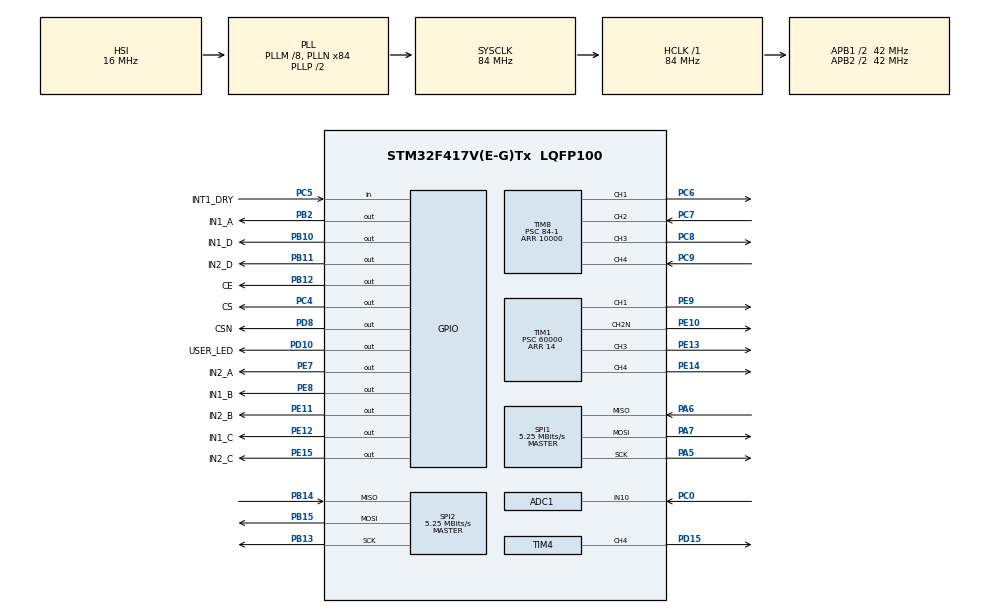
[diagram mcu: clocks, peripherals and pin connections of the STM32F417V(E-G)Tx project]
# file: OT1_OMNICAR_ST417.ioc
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ADC1.Channel-0\#ChannelRegularConversion=ADC_CHANNEL_10
ADC1.ContinuousConvMode=ENABLE
ADC1.NbrOfConversionFlag=1
ADC1.Rank-0\#ChannelRegularConversion=1
ADC1.Resolution=ADC_RESOLUTION_10B
ADC1.SamplingTime-0\#ChannelRegularConversion=ADC_SAMPLETIME_3CYCLES
ADC1.master=1
Mcu.Family=STM32F4
Mcu.Name=STM32F417V(E-G)Tx
Mcu.Package=LQFP100
NVIC.PriorityGroup=NVIC_PRIORITYGROUP_4
NVIC.TIM8_BRK_TIM12_IRQn=true\:0\:0\:false\:false\:true\:true\:true
NVIC.TIM8_CC_IRQn=true\:0\:0\:false\:false\:true\:true\:true
PA13.Mode=Serial_Wire
PA13.Signal=SYS_JTMS-SWDIO
PA14.Mode=Serial_Wire
PA14.Signal=SYS_JTCK-SWCLK
PA5.Mode=Full_Duplex_Master
PA5.Signal=SPI1_SCK
PA6.Mode=Full_Duplex_Master
PA6.Signal=SPI1_MISO
PA7.Mode=Full_Duplex_Master
PA7.Signal=SPI1_MOSI
PB10.GPIO_Label=IN1_D
PB10.Signal=GPIO_Output
PB11.GPIO_Label=IN2_D
PB11.Signal=GPIO_Output
PB12.GPIO_Label=CE
PB12.Signal=GPIO_Output
PB13.Mode=Full_Duplex_Master
PB13.Signal=SPI2_SCK
PB14.Mode=Full_Duplex_Master
PB14.Signal=SPI2_MISO
PB15.Mode=Full_Duplex_Master
PB15.Signal=SPI2_MOSI
PB2.GPIO_Label=IN1_A
PB2.Signal=GPIO_Output
PC0.Signal=ADCx_IN10
PC14-OSC32_IN.Mode=LSE-External-Oscillator
PC14-OSC32_IN.Signal=RCC_OSC32_IN
PC15-OSC32_OUT.Mode=LSE-External-Oscillator
PC15-OSC32_OUT.Signal=RCC_OSC32_OUT
PC4.GPIO_Label=CS
PC4.Signal=GPIO_Output
PC5.GPIO_Label=INT1_DRY
PC5.Signal=GPIO_Input
PC6.Signal=S_TIM8_CH1
PC7.Signal=S_TIM8_CH2
PC8.Signal=S_TIM8_CH3
PC9.Signal=S_TIM8_CH4
PD10.GPIO_Label=USER_LED
PD10.Signal=GPIO_Output
PD15.Signal=S_TIM4_CH4
PD8.GPIO_Label=CSN
PD8.Signal=GPIO_Output
PE10.Mode=PWM Generation2 CH2N
PE10.Signal=TIM1_CH2N
PE11.GPIO_Label=IN2_B
PE11.Signal=GPIO_Output
PE12.GPIO_Label=IN1_C
PE12.Signal=GPIO_Output
PE13.Signal=S_TIM1_CH3
PE14.Signal=S_TIM1_CH4
PE15.GPIO_Label=IN2_C
PE15.Signal=GPIO_Output
PE7.GPIO_Label=IN2_A
PE7.Signal=GPIO_Output
PE8.GPIO_Label=IN1_B
PE8.Signal=GPIO_Output
PE9.Signal=S_TIM1_CH1
ProjectManager.HeapSize=0x200
ProjectManager.StackSize=0x400
ProjectManager.TargetToolchain=STM32CubeIDE
RCC.48MHZClocksFreq_Value=42000000
RCC.AHBFreq_Value=84000000
RCC.APB1CLKDivider=RCC_HCLK_DIV2
RCC.APB1Freq_Value=42000000
RCC.APB1TimFreq_Value=84000000
RCC.APB2CLKDivider=RCC_HCLK_DIV2
RCC.APB2Freq_Value=42000000
RCC.APB2TimFreq_Value=84000000
RCC.CortexFreq_Value=84000000
RCC.HCLKFreq_Value=84000000
RCC.HSE_VALUE=25000000
RCC.HSI_VALUE=16000000
RCC.PLLM=8
RCC.PLLN=84
RCC.SYSCLKFreq_VALUE=84000000
RCC.SYSCLKSource=RCC_SYSCLKSOURCE_PLLCLK
RCC.VCOOutputFreq_Value=168000000
SH.ADCx_IN10.0=ADC1_IN10,IN10
SH.S_TIM1_CH1.0=TIM1_CH1,PWM Generation1 CH1
SH.S_TIM1_CH3.0=TIM1_CH3,PWM Generation3 CH3
SH.S_TIM1_CH4.0=TIM1_CH4,PWM Generation4 CH4
SH.S_TIM4_CH4.0=TIM4_CH4,PWM Generation4 CH4
SH.S_TIM8_CH1.0=TIM8_CH1,PWM Generation1 CH1
SH.S_TIM8_CH2.0=TIM8_CH2,Input_Capture2_from_TI2
SH.S_TIM8_CH3.0=TIM8_CH3,PWM Generation3 CH3
SH.S_TIM8_CH4.0=TIM8_CH4,Input_Capture4_from_TI4
SPI1.BaudRatePrescaler=SPI_BAUDRATEPRESCALER_8
SPI1.CalculateBaudRate=5.25 MBits/s
SPI1.Direction=SPI_DIRECTION_2LINES
SPI1.Mode=SPI_MODE_MASTER
SPI1.VirtualType=VM_MASTER
SPI2.BaudRatePrescaler=SPI_BAUDRATEPRESCALER_8
SPI2.CalculateBaudRate=5.25 MBits/s
SPI2.Direction=SPI_DIRECTION_2LINES
SPI2.Mode=SPI_MODE_MASTER
SPI2.VirtualType=VM_MASTER
TIM1.Channel-PWM\ Generation1\ CH1=TIM_CHANNEL_1
TIM1.Channel-PWM\ Generation2\ CH2N=TIM_CHANNEL_2
TIM1.Channel-PWM\ Generation3\ CH3=TIM_CHANNEL_3
TIM1.Channel-PWM\ Generation4\ CH4=TIM_CHANNEL_4
TIM1.OCNPolarity_2=TIM_OCNPOLARITY_LOW
TIM1.Period=14
TIM1.Prescaler=60000
TIM4.Channel-PWM\ Generation4\ CH4=TIM_CHANNEL_4
TIM4.Period=1000
TIM4.Prescaler=1680
TIM8.Channel-Input_Capture2_from_TI2=TIM_CHANNEL_2
TIM8.Channel-Input_Capture4_from_TI4=TIM_CHANNEL_4
TIM8.Channel-PWM\ Generation1\ CH1=TIM_CHANNEL_1
TIM8.Channel-PWM\ Generation3\ CH3=TIM_CHANNEL_3
TIM8.Period=10000
TIM8.Prescaler=84-1
TIM8.Pulse-PWM\ Generation1\ CH1=10
TIM8.Pulse-PWM\ Generation3\ CH3=10
VP_TIM1_VS_ClockSourceINT.Mode=Internal
VP_TIM4_VS_ClockSourceINT.Mode=Internal
VP_TIM8_VS_ClockSourceINT.Mode=Internal
board=custom

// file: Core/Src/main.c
/* USER CODE BEGIN Header */
/**
  ******************************************************************************
  * @file           : main.c
  * @brief          : Main program body
  ******************************************************************************
  * @attention
  *
  * <h2><center>&copy; Copyright (c) 2021 STMicroelectronics.
  * All rights reserved.</center></h2>
  *
  * This software component is licensed by ST under BSD 3-Clause license,
  * the "License"; You may not use this file except in compliance with the
  * License. You may obtain a copy of the License at:
  *                        opensource.org/licenses/BSD-3-Clause
  *
  ******************************************************************************
  */
/* USER CODE END Header */
#include "main.h"

/* USER CODE BEGIN Includes */
#include "omnicar_inc/motors.h"						// include header file for motors driver
#include "omnicar_inc/MY_NRF24.h"					// include header file for wireless communication driver
#include "omnicar_inc/battery.h"					// include header file for battery (ADC) driver
#include "omnicar_inc/sensors.h"					// include header file for sensors driver

#include <stdbool.h>								// include header file for standard boolean library
#include <stdio.h>									// include header file for standard Input Output library
/* USER CODE END Includes */

ADC_HandleTypeDef hadc1;

SPI_HandleTypeDef hspi1;
SPI_HandleTypeDef hspi2;

TIM_HandleTypeDef htim1;
TIM_HandleTypeDef htim4;
TIM_HandleTypeDef htim8;

/* USER CODE BEGIN PV */

//PRIVATE VARIABLES NRF24
uint64_t RxpipeAddrs = 0x11223344AA;            				// UHF module address (nRF24L01+)
uint8_t channel      = 52;                           			// data for initialize the channel number
uint8_t payload_size = 32;                      				// data for initialize the payload size
uint8_t myRxData[3];                            				// data array from radiocommand
uint8_t myAckPayload[3];                        				// send ACK with playload (battery level and speed car)

//PRIVATE VARIABLES MOTORS
uint32_t channel_array[4]  = {TIM_CHANNEL_1, TIM_CHANNEL_2, TIM_CHANNEL_3, TIM_CHANNEL_4};										// channel array
uint16_t gpio_pin_array[8] = {IN1_A_Pin, IN2_A_Pin, IN1_B_Pin, IN2_B_Pin, IN1_C_Pin, IN2_C_Pin, IN1_D_Pin, IN2_D_Pin};			// GPIO pin array for motors direction

//PRIVATE VARIABLES SENSORS
bool dst = false;												// declaration of a boolean data for US1
bool dst_2 = false;												// declaration of a boolean data for US2

uint8_t batt = 0;
/* USER CODE END PV */

void SystemClock_Config(void);
static void MX_GPIO_Init(void);
static void MX_SPI2_Init(void);
static void MX_TIM1_Init(void);
static void MX_ADC1_Init(void);
static void MX_TIM4_Init(void);
static void MX_TIM8_Init(void);
static void MX_SPI1_Init(void);

int main(void)
{

  /* MCU Configuration--------------------------------------------------------*/

  /* Reset of all peripherals, Initializes the Flash interface and the Systick. */
  HAL_Init();

  /* Configure the system clock */
  SystemClock_Config();

  /* Initialize all configured peripherals */
  MX_GPIO_Init();
  MX_SPI2_Init();
  MX_TIM1_Init();
  MX_ADC1_Init();
  MX_TIM4_Init();
  MX_TIM8_Init();
  MX_SPI1_Init();
  /* USER CODE BEGIN 2 */

  /* NRF - INIT*/
  NRF24_begin(GPIOD, CSN_Pin, GPIOB, CE_Pin, hspi2);              						// initialization of all register into there reset value
  NRF24_receptionInit(RxpipeAddrs, channel, payload_size);        						// function call for initialization of reception

  /* MOTORS - INIT */
  init_pwm_motors(&htim1, channel_array);												// function call for initialization of motors PWM

  /* SERVO */
  HAL_TIM_PWM_Start(&htim4, TIM_CHANNEL_4);												// start PWM at TIM4 - CHANNEL4 for servo motor
  /* ULTRA SON */
  //sensors_init_pwm(&htim8, channel_array);												// function call for initialization of PWM sensor

  HAL_TIM_PWM_Start(&htim8, TIM_CHANNEL_1);									// DELETE ?
  HAL_TIM_IC_Start_IT(&htim8, TIM_CHANNEL_2);
  HAL_TIM_PWM_Start(&htim8, TIM_CHANNEL_3);
  HAL_TIM_IC_Start_IT(&htim8, TIM_CHANNEL_4);

  /* USER CODE END 2 */

  /* Infinite loop */
  /* USER CODE BEGIN WHILE */
  while (1)
  {
	/* DATA RECEIVE */
	NRF24_dataReception(myRxData, 3, myAckPayload, 3);									// function call for data reception

	/* ACTIVATE SENSORS */
	if(myRxData[2] == 1)																// check into the third case of myRxData
	{
		HAL_GPIO_WritePin(USER_LED_GPIO_Port, USER_LED_Pin, GPIO_PIN_SET);
		sensors_start_servo(&htim4, TIM_CHANNEL_4);										// function call for start the servomotor

		//calculated_distance();
		//calculated_distance_2();

		dst = sensors_calculated_distance();								 //ERROR	// function call to calculate distance with ultra-sonic sensor 1 and store the return data into dst
		dst_2 = sensors_calculated_distance_2();										// function call to calculate distance with ultre-sonic sensor 2 and store the return data into dst_2

		if(dst_2 || dst)																		// check if dst_2 is true
		{
			myAckPayload[2] = 1;														// store 1 into the third case of "myAckPayload" array
		}
		else
		{
			myAckPayload[2] = 0;														// store 0 into the third case of "myAckPayload" array
		}
	}
	else
	{
		HAL_GPIO_WritePin(USER_LED_GPIO_Port, USER_LED_Pin, GPIO_PIN_RESET);
	}

	HAL_Delay(5);																		// to have the same time for ack

	motors_management(&htim1, channel_array, myRxData);									// function call to set the PWM for the engine management
	motors_direction(GPIOB, GPIOE, gpio_pin_array, myRxData);							// function call to start the motor direction

	myAckPayload[0] = battery_getBatteryLevel(&hadc1);									// store the percentage of battery into the first case of the ack array
    /* USER CODE END WHILE */

  }
}

void SystemClock_Config(void)
{
  RCC_OscInitTypeDef RCC_OscInitStruct = {0};
  RCC_ClkInitTypeDef RCC_ClkInitStruct = {0};

  /** Configure the main internal regulator output voltage
  */
  __HAL_RCC_PWR_CLK_ENABLE();
  __HAL_PWR_VOLTAGESCALING_CONFIG(PWR_REGULATOR_VOLTAGE_SCALE1);
  /** Initializes the RCC Oscillators according to the specified parameters
  * in the RCC_OscInitTypeDef structure.
  */
  RCC_OscInitStruct.OscillatorType = RCC_OSCILLATORTYPE_HSI;
  RCC_OscInitStruct.HSIState = RCC_HSI_ON;
  RCC_OscInitStruct.HSICalibrationValue = RCC_HSICALIBRATION_DEFAULT;
  RCC_OscInitStruct.PLL.PLLState = RCC_PLL_ON;
  RCC_OscInitStruct.PLL.PLLSource = RCC_PLLSOURCE_HSI;
  RCC_OscInitStruct.PLL.PLLM = 8;
  RCC_OscInitStruct.PLL.PLLN = 84;
  RCC_OscInitStruct.PLL.PLLP = RCC_PLLP_DIV2;
  RCC_OscInitStruct.PLL.PLLQ = 4;
  if (HAL_RCC_OscConfig(&RCC_OscInitStruct) != HAL_OK)
  {
    Error_Handler();
  }
  /** Initializes the CPU, AHB and APB buses clocks
  */
  RCC_ClkInitStruct.ClockType = RCC_CLOCKTYPE_HCLK|RCC_CLOCKTYPE_SYSCLK
                              |RCC_CLOCKTYPE_PCLK1|RCC_CLOCKTYPE_PCLK2;
  RCC_ClkInitStruct.SYSCLKSource = RCC_SYSCLKSOURCE_PLLCLK;
  RCC_ClkInitStruct.AHBCLKDivider = RCC_SYSCLK_DIV1;
  RCC_ClkInitStruct.APB1CLKDivider = RCC_HCLK_DIV2;
  RCC_ClkInitStruct.APB2CLKDivider = RCC_HCLK_DIV2;

  if (HAL_RCC_ClockConfig(&RCC_ClkInitStruct, FLASH_LATENCY_2) != HAL_OK)
  {
    Error_Handler();
  }
}

static void MX_ADC1_Init(void)
{

  ADC_ChannelConfTypeDef sConfig = {0};

  /** Configure the global features of the ADC (Clock, Resolution, Data Alignment and number of conversion)
  */
  hadc1.Instance = ADC1;
  hadc1.Init.ClockPrescaler = ADC_CLOCK_SYNC_PCLK_DIV2;
  hadc1.Init.Resolution = ADC_RESOLUTION_10B;
  hadc1.Init.ScanConvMode = DISABLE;
  hadc1.Init.ContinuousConvMode = ENABLE;
  hadc1.Init.DiscontinuousConvMode = DISABLE;
  hadc1.Init.ExternalTrigConvEdge = ADC_EXTERNALTRIGCONVEDGE_NONE;
  hadc1.Init.ExternalTrigConv = ADC_SOFTWARE_START;
  hadc1.Init.DataAlign = ADC_DATAALIGN_RIGHT;
  hadc1.Init.NbrOfConversion = 1;
  hadc1.Init.DMAContinuousRequests = DISABLE;
  hadc1.Init.EOCSelection = ADC_EOC_SINGLE_CONV;
  if (HAL_ADC_Init(&hadc1) != HAL_OK)
  {
    Error_Handler();
  }
  /** Configure for the selected ADC regular channel its corresponding rank in the sequencer and its sample time.
  */
  sConfig.Channel = ADC_CHANNEL_10;
  sConfig.Rank = 1;
  sConfig.SamplingTime = ADC_SAMPLETIME_3CYCLES;
  if (HAL_ADC_ConfigChannel(&hadc1, &sConfig) != HAL_OK)
  {
    Error_Handler();
  }

}

static void MX_SPI1_Init(void)
{

  /* SPI1 parameter configuration*/
  hspi1.Instance = SPI1;
  hspi1.Init.Mode = SPI_MODE_MASTER;
  hspi1.Init.Direction = SPI_DIRECTION_2LINES;
  hspi1.Init.DataSize = SPI_DATASIZE_8BIT;
  hspi1.Init.CLKPolarity = SPI_POLARITY_LOW;
  hspi1.Init.CLKPhase = SPI_PHASE_1EDGE;
  hspi1.Init.NSS = SPI_NSS_SOFT;
  hspi1.Init.BaudRatePrescaler = SPI_BAUDRATEPRESCALER_8;
  hspi1.Init.FirstBit = SPI_FIRSTBIT_MSB;
  hspi1.Init.TIMode = SPI_TIMODE_DISABLE;
  hspi1.Init.CRCCalculation = SPI_CRCCALCULATION_DISABLE;
  hspi1.Init.CRCPolynomial = 10;
  if (HAL_SPI_Init(&hspi1) != HAL_OK)
  {
    Error_Handler();
  }

}

static void MX_SPI2_Init(void)
{

  /* SPI2 parameter configuration*/
  hspi2.Instance = SPI2;
  hspi2.Init.Mode = SPI_MODE_MASTER;
  hspi2.Init.Direction = SPI_DIRECTION_2LINES;
  hspi2.Init.DataSize = SPI_DATASIZE_8BIT;
  hspi2.Init.CLKPolarity = SPI_POLARITY_LOW;
  hspi2.Init.CLKPhase = SPI_PHASE_1EDGE;
  hspi2.Init.NSS = SPI_NSS_SOFT;
  hspi2.Init.BaudRatePrescaler = SPI_BAUDRATEPRESCALER_8;
  hspi2.Init.FirstBit = SPI_FIRSTBIT_MSB;
  hspi2.Init.TIMode = SPI_TIMODE_DISABLE;
  hspi2.Init.CRCCalculation = SPI_CRCCALCULATION_DISABLE;
  hspi2.Init.CRCPolynomial = 10;
  if (HAL_SPI_Init(&hspi2) != HAL_OK)
  {
    Error_Handler();
  }

}

static void MX_TIM1_Init(void)
{

  TIM_ClockConfigTypeDef sClockSourceConfig = {0};
  TIM_MasterConfigTypeDef sMasterConfig = {0};
  TIM_OC_InitTypeDef sConfigOC = {0};
  TIM_BreakDeadTimeConfigTypeDef sBreakDeadTimeConfig = {0};

  htim1.Instance = TIM1;
  htim1.Init.Prescaler = 60000;
  htim1.Init.CounterMode = TIM_COUNTERMODE_UP;
  htim1.Init.Period = 14;
  htim1.Init.ClockDivision = TIM_CLOCKDIVISION_DIV1;
  htim1.Init.RepetitionCounter = 0;
  htim1.Init.AutoReloadPreload = TIM_AUTORELOAD_PRELOAD_DISABLE;
  if (HAL_TIM_Base_Init(&htim1) != HAL_OK)
  {
    Error_Handler();
  }
  sClockSourceConfig.ClockSource = TIM_CLOCKSOURCE_INTERNAL;
  if (HAL_TIM_ConfigClockSource(&htim1, &sClockSourceConfig) != HAL_OK)
  {
    Error_Handler();
  }
  if (HAL_TIM_PWM_Init(&htim1) != HAL_OK)
  {
    Error_Handler();
  }
  sMasterConfig.MasterOutputTrigger = TIM_TRGO_RESET;
  sMasterConfig.MasterSlaveMode = TIM_MASTERSLAVEMODE_DISABLE;
  if (HAL_TIMEx_MasterConfigSynchronization(&htim1, &sMasterConfig) != HAL_OK)
  {
    Error_Handler();
  }
  sConfigOC.OCMode = TIM_OCMODE_PWM1;
  sConfigOC.Pulse = 0;
  sConfigOC.OCPolarity = TIM_OCPOLARITY_HIGH;
  sConfigOC.OCNPolarity = TIM_OCNPOLARITY_HIGH;
  sConfigOC.OCFastMode = TIM_OCFAST_DISABLE;
  sConfigOC.OCIdleState = TIM_OCIDLESTATE_RESET;
  sConfigOC.OCNIdleState = TIM_OCNIDLESTATE_RESET;
  if (HAL_TIM_PWM_ConfigChannel(&htim1, &sConfigOC, TIM_CHANNEL_1) != HAL_OK)
  {
    Error_Handler();
  }
  sConfigOC.OCNPolarity = TIM_OCNPOLARITY_LOW;
  if (HAL_TIM_PWM_ConfigChannel(&htim1, &sConfigOC, TIM_CHANNEL_2) != HAL_OK)
  {
    Error_Handler();
  }
  sConfigOC.OCNPolarity = TIM_OCNPOLARITY_HIGH;
  if (HAL_TIM_PWM_ConfigChannel(&htim1, &sConfigOC, TIM_CHANNEL_3) != HAL_OK)
  {
    Error_Handler();
  }
  if (HAL_TIM_PWM_ConfigChannel(&htim1, &sConfigOC, TIM_CHANNEL_4) != HAL_OK)
  {
    Error_Handler();
  }
  sBreakDeadTimeConfig.OffStateRunMode = TIM_OSSR_DISABLE;
  sBreakDeadTimeConfig.OffStateIDLEMode = TIM_OSSI_DISABLE;
  sBreakDeadTimeConfig.LockLevel = TIM_LOCKLEVEL_OFF;
  sBreakDeadTimeConfig.DeadTime = 0;
  sBreakDeadTimeConfig.BreakState = TIM_BREAK_DISABLE;
  sBreakDeadTimeConfig.BreakPolarity = TIM_BREAKPOLARITY_HIGH;
  sBreakDeadTimeConfig.AutomaticOutput = TIM_AUTOMATICOUTPUT_DISABLE;
  if (HAL_TIMEx_ConfigBreakDeadTime(&htim1, &sBreakDeadTimeConfig) != HAL_OK)
  {
    Error_Handler();
  }
  HAL_TIM_MspPostInit(&htim1);

}

static void MX_TIM4_Init(void)
{

  TIM_ClockConfigTypeDef sClockSourceConfig = {0};
  TIM_MasterConfigTypeDef sMasterConfig = {0};
  TIM_OC_InitTypeDef sConfigOC = {0};

  htim4.Instance = TIM4;
  htim4.Init.Prescaler = 1680;
  htim4.Init.CounterMode = TIM_COUNTERMODE_UP;
  htim4.Init.Period = 1000;
  htim4.Init.ClockDivision = TIM_CLOCKDIVISION_DIV1;
  htim4.Init.AutoReloadPreload = TIM_AUTORELOAD_PRELOAD_DISABLE;
  if (HAL_TIM_Base_Init(&htim4) != HAL_OK)
  {
    Error_Handler();
  }
  sClockSourceConfig.ClockSource = TIM_CLOCKSOURCE_INTERNAL;
  if (HAL_TIM_ConfigClockSource(&htim4, &sClockSourceConfig) != HAL_OK)
  {
    Error_Handler();
  }
  if (HAL_TIM_PWM_Init(&htim4) != HAL_OK)
  {
    Error_Handler();
  }
  sMasterConfig.MasterOutputTrigger = TIM_TRGO_RESET;
  sMasterConfig.MasterSlaveMode = TIM_MASTERSLAVEMODE_DISABLE;
  if (HAL_TIMEx_MasterConfigSynchronization(&htim4, &sMasterConfig) != HAL_OK)
  {
    Error_Handler();
  }
  sConfigOC.OCMode = TIM_OCMODE_PWM1;
  sConfigOC.Pulse = 0;
  sConfigOC.OCPolarity = TIM_OCPOLARITY_HIGH;
  sConfigOC.OCFastMode = TIM_OCFAST_DISABLE;
  if (HAL_TIM_PWM_ConfigChannel(&htim4, &sConfigOC, TIM_CHANNEL_4) != HAL_OK)
  {
    Error_Handler();
  }
  HAL_TIM_MspPostInit(&htim4);

}

static void MX_TIM8_Init(void)
{

  TIM_ClockConfigTypeDef sClockSourceConfig = {0};
  TIM_MasterConfigTypeDef sMasterConfig = {0};
  TIM_OC_InitTypeDef sConfigOC = {0};
  TIM_IC_InitTypeDef sConfigIC = {0};
  TIM_BreakDeadTimeConfigTypeDef sBreakDeadTimeConfig = {0};

  htim8.Instance = TIM8;
  htim8.Init.Prescaler = 84-1;
  htim8.Init.CounterMode = TIM_COUNTERMODE_UP;
  htim8.Init.Period = 10000;
  htim8.Init.ClockDivision = TIM_CLOCKDIVISION_DIV1;
  htim8.Init.RepetitionCounter = 0;
  htim8.Init.AutoReloadPreload = TIM_AUTORELOAD_PRELOAD_DISABLE;
  if (HAL_TIM_Base_Init(&htim8) != HAL_OK)
  {
    Error_Handler();
  }
  sClockSourceConfig.ClockSource = TIM_CLOCKSOURCE_INTERNAL;
  if (HAL_TIM_ConfigClockSource(&htim8, &sClockSourceConfig) != HAL_OK)
  {
    Error_Handler();
  }
  if (HAL_TIM_PWM_Init(&htim8) != HAL_OK)
  {
    Error_Handler();
  }
  if (HAL_TIM_IC_Init(&htim8) != HAL_OK)
  {
    Error_Handler();
  }
  sMasterConfig.MasterOutputTrigger = TIM_TRGO_RESET;
  sMasterConfig.MasterSlaveMode = TIM_MASTERSLAVEMODE_DISABLE;
  if (HAL_TIMEx_MasterConfigSynchronization(&htim8, &sMasterConfig) != HAL_OK)
  {
    Error_Handler();
  }
  sConfigOC.OCMode = TIM_OCMODE_PWM1;
  sConfigOC.Pulse = 10;
  sConfigOC.OCPolarity = TIM_OCPOLARITY_HIGH;
  sConfigOC.OCNPolarity = TIM_OCNPOLARITY_HIGH;
  sConfigOC.OCFastMode = TIM_OCFAST_DISABLE;
  sConfigOC.OCIdleState = TIM_OCIDLESTATE_RESET;
  sConfigOC.OCNIdleState = TIM_OCNIDLESTATE_RESET;
  if (HAL_TIM_PWM_ConfigChannel(&htim8, &sConfigOC, TIM_CHANNEL_1) != HAL_OK)
  {
    Error_Handler();
  }
  sConfigIC.ICPolarity = TIM_INPUTCHANNELPOLARITY_RISING;
  sConfigIC.ICSelection = TIM_ICSELECTION_DIRECTTI;
  sConfigIC.ICPrescaler = TIM_ICPSC_DIV1;
  sConfigIC.ICFilter = 0;
  if (HAL_TIM_IC_ConfigChannel(&htim8, &sConfigIC, TIM_CHANNEL_2) != HAL_OK)
  {
    Error_Handler();
  }
  if (HAL_TIM_PWM_ConfigChannel(&htim8, &sConfigOC, TIM_CHANNEL_3) != HAL_OK)
  {
    Error_Handler();
  }
  if (HAL_TIM_IC_ConfigChannel(&htim8, &sConfigIC, TIM_CHANNEL_4) != HAL_OK)
  {
    Error_Handler();
  }
  sBreakDeadTimeConfig.OffStateRunMode = TIM_OSSR_DISABLE;
  sBreakDeadTimeConfig.OffStateIDLEMode = TIM_OSSI_DISABLE;
  sBreakDeadTimeConfig.LockLevel = TIM_LOCKLEVEL_OFF;
  sBreakDeadTimeConfig.DeadTime = 0;
  sBreakDeadTimeConfig.BreakState = TIM_BREAK_DISABLE;
  sBreakDeadTimeConfig.BreakPolarity = TIM_BREAKPOLARITY_HIGH;
  sBreakDeadTimeConfig.AutomaticOutput = TIM_AUTOMATICOUTPUT_DISABLE;
  if (HAL_TIMEx_ConfigBreakDeadTime(&htim8, &sBreakDeadTimeConfig) != HAL_OK)
  {
    Error_Handler();
  }
  HAL_TIM_MspPostInit(&htim8);

}

static void MX_GPIO_Init(void)
{
  GPIO_InitTypeDef GPIO_InitStruct = {0};

  /* GPIO Ports Clock Enable */
  __HAL_RCC_GPIOC_CLK_ENABLE();
  __HAL_RCC_GPIOA_CLK_ENABLE();
  __HAL_RCC_GPIOB_CLK_ENABLE();
  __HAL_RCC_GPIOE_CLK_ENABLE();
  __HAL_RCC_GPIOD_CLK_ENABLE();

  /*Configure GPIO pin Output Level */
  HAL_GPIO_WritePin(CS_GPIO_Port, CS_Pin, GPIO_PIN_RESET);

  /*Configure GPIO pin Output Level */
  HAL_GPIO_WritePin(GPIOB, IN1_A_Pin|IN1_D_Pin|IN2_D_Pin|CE_Pin, GPIO_PIN_RESET);

  /*Configure GPIO pin Output Level */
  HAL_GPIO_WritePin(GPIOE, IN2_A_Pin|IN1_B_Pin|IN2_B_Pin|IN1_C_Pin
                          |IN2_C_Pin, GPIO_PIN_RESET);

  /*Configure GPIO pin Output Level */
  HAL_GPIO_WritePin(GPIOD, CSN_Pin|USER_LED_Pin, GPIO_PIN_RESET);

  /*Configure GPIO pin : CS_Pin */
  GPIO_InitStruct.Pin = CS_Pin;
  GPIO_InitStruct.Mode = GPIO_MODE_OUTPUT_PP;
  GPIO_InitStruct.Pull = GPIO_NOPULL;
  GPIO_InitStruct.Speed = GPIO_SPEED_FREQ_LOW;
  HAL_GPIO_Init(CS_GPIO_Port, &GPIO_InitStruct);

  /*Configure GPIO pin : INT1_DRY_Pin */
  GPIO_InitStruct.Pin = INT1_DRY_Pin;
  GPIO_InitStruct.Mode = GPIO_MODE_INPUT;
  GPIO_InitStruct.Pull = GPIO_NOPULL;
  HAL_GPIO_Init(INT1_DRY_GPIO_Port, &GPIO_InitStruct);

  /*Configure GPIO pins : IN1_A_Pin IN1_D_Pin IN2_D_Pin CE_Pin */
  GPIO_InitStruct.Pin = IN1_A_Pin|IN1_D_Pin|IN2_D_Pin|CE_Pin;
  GPIO_InitStruct.Mode = GPIO_MODE_OUTPUT_PP;
  GPIO_InitStruct.Pull = GPIO_NOPULL;
  GPIO_InitStruct.Speed = GPIO_SPEED_FREQ_LOW;
  HAL_GPIO_Init(GPIOB, &GPIO_InitStruct);

  /*Configure GPIO pins : IN2_A_Pin IN1_B_Pin IN2_B_Pin IN1_C_Pin
                           IN2_C_Pin */
  GPIO_InitStruct.Pin = IN2_A_Pin|IN1_B_Pin|IN2_B_Pin|IN1_C_Pin
                          |IN2_C_Pin;
  GPIO_InitStruct.Mode = GPIO_MODE_OUTPUT_PP;
  GPIO_InitStruct.Pull = GPIO_NOPULL;
  GPIO_InitStruct.Speed = GPIO_SPEED_FREQ_LOW;
  HAL_GPIO_Init(GPIOE, &GPIO_InitStruct);

  /*Configure GPIO pins : CSN_Pin USER_LED_Pin */
  GPIO_InitStruct.Pin = CSN_Pin|USER_LED_Pin;
  GPIO_InitStruct.Mode = GPIO_MODE_OUTPUT_PP;
  GPIO_InitStruct.Pull = GPIO_NOPULL;
  GPIO_InitStruct.Speed = GPIO_SPEED_FREQ_LOW;
  HAL_GPIO_Init(GPIOD, &GPIO_InitStruct);

}

void Error_Handler(void)
{
}

/************************ (C) COPYRIGHT STMicroelectronics *****END OF FILE****/
